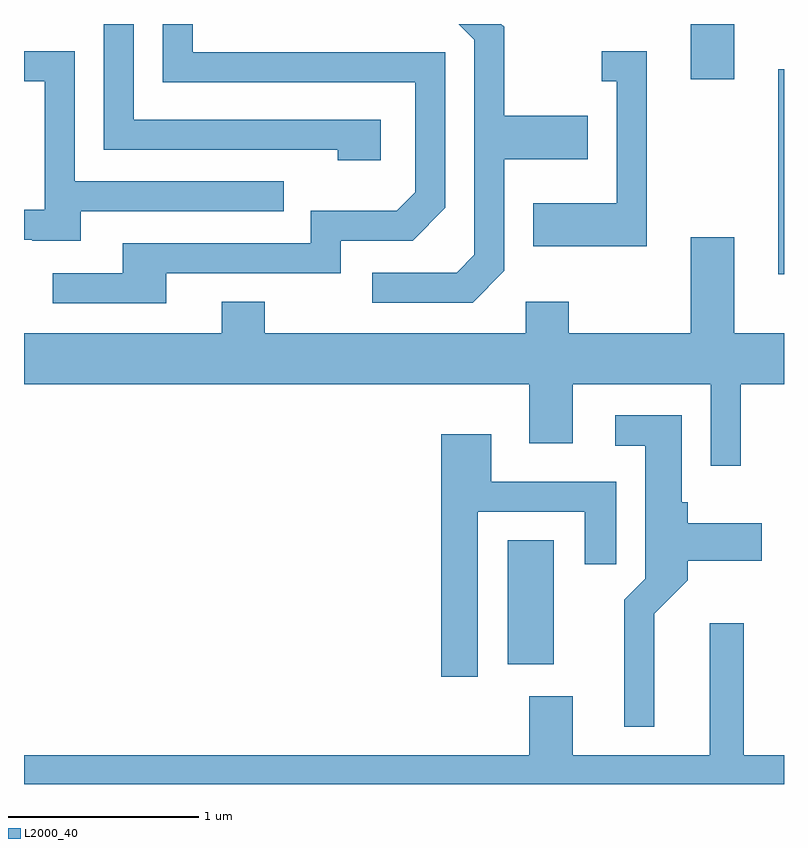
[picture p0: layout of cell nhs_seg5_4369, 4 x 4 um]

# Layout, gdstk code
import gdstk
lib = gdstk.Library(unit=1e-6, precision=1e-09)
def R(c, l, rs):  # rectangles x0, y0, x1, y1
    for r in rs: c.add(gdstk.rectangle(r[:2], r[2:], *l))
def P(c, l, *ps):  # polygons
    for p in ps: c.add(gdstk.Polygon(p, *l))
L2000_40 = (2000, 40)

nhs_seg5_4369 = lib.new_cell('nhs_seg5_4369')
R(nhs_seg5_4369, L2000_40, [(318.156,1408.701,318.399,1409.354), (319.581,1410.756,319.611,1411.834), (319.121,1411.781,319.349,1412.072)])
P(nhs_seg5_4369, L2000_40, [(316.359,1410.761),(317.279,1410.761),(317.279,1410.931),(317.657,1410.931),(317.829,1411.104),(317.829,1411.924),(316.499,1411.924),(316.499,1412.072),(316.341,1412.072),(316.341,1411.766),(317.671,1411.766),(317.671,1411.187),(317.574,1411.089),(317.121,1411.089),(317.121,1410.919),(316.131,1410.919),(316.131,1410.759),(315.763,1410.759),(315.763,1410.601),(316.359,1410.601)],
  [(317.489,1411.569),(316.189,1411.569),(316.189,1412.072),(316.031,1412.072),(316.031,1411.411),(317.261,1411.411),(317.261,1411.356),(317.489,1411.356)],
  [(318.139,1410.774),(318.139,1411.361),(318.579,1411.361),(318.579,1411.589),(318.139,1411.589),(318.139,1412.057),(318.124,1412.072),(317.898,1412.072),(317.981,1411.989),(317.981,1410.857),(317.889,1410.764),(317.443,1410.764),(317.443,1410.606),(317.972,1410.606)],
  [(315.909,1411.086),(316.978,1411.086),(316.978,1411.244),(315.879,1411.244),(315.879,1411.929),(315.611,1411.929),(315.611,1411.771),(315.721,1411.771),(315.721,1411.094),(315.611,1411.094),(315.611,1410.936),(315.655,1410.936),(315.655,1410.931),(315.909,1410.931)],
  [(318.889,1411.929),(318.653,1411.929),(318.653,1411.771),(318.731,1411.771),(318.731,1411.129),(318.291,1411.129),(318.291,1410.901),(318.889,1410.901)],
  [(318.479,1410.609),(318.251,1410.609),(318.251,1410.444),(316.879,1410.444),(316.879,1410.609),(316.651,1410.609),(316.651,1410.444),(315.611,1410.444),(315.611,1410.176),(318.271,1410.176),(318.271,1409.866),(318.499,1409.866),(318.499,1410.176),(319.226,1410.176),(319.226,1409.748),(319.384,1409.748),(319.384,1410.176),(319.611,1410.176),(319.611,1410.444),(319.349,1410.444),(319.349,1410.949),(319.121,1410.949),(319.121,1410.444),(318.479,1410.444)],
  [(318.929,1408.969),(319.104,1409.144),(319.104,1409.246),(319.494,1409.246),(319.494,1409.444),(319.104,1409.444),(319.104,1409.554),(319.074,1409.554),(319.074,1410.014),(318.723,1410.014),(318.723,1409.851),(318.881,1409.851),(318.881,1409.152),(318.771,1409.042),(318.771,1408.373),(318.929,1408.373)],
  [(317.999,1409.506),(318.561,1409.506),(318.561,1409.228),(318.729,1409.228),(318.729,1409.664),(318.069,1409.664),(318.069,1409.914),(317.806,1409.914),(317.806,1408.636),(317.999,1408.636)],
  [(319.611,1408.224),(319.399,1408.224),(319.399,1408.919),(319.221,1408.919),(319.221,1408.224),(318.499,1408.224),(318.499,1408.534),(318.271,1408.534),(318.271,1408.224),(315.611,1408.224),(315.611,1408.072),(319.611,1408.072)])

lib.write_gds('nhs_seg5_4369.gds')
